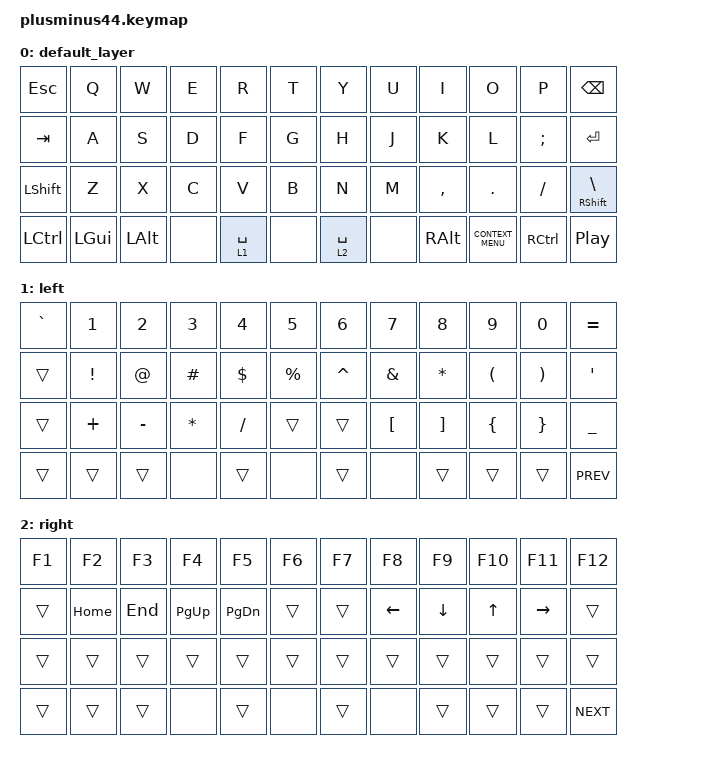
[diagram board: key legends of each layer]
#include <behaviors.dtsi>
#include <dt-bindings/zmk/bt.h>
#include <dt-bindings/zmk/ext_power.h>
#include <dt-bindings/zmk/keys.h>

/ {
    keymap {
        compatible = "zmk,keymap";

        default_layer {
            bindings = <
            &kp ESC    &kp Q     &kp W     &kp E  &kp R        &kp T  &kp Y        &kp U  &kp I      &kp O               &kp P      &kp BSPC
            &kp TAB    &kp A     &kp S     &kp D  &kp F        &kp G  &kp H        &kp J  &kp K      &kp L               &kp SEMI   &kp ENTER
            &kp LSHFT  &kp Z     &kp X     &kp C  &kp V        &kp B  &kp N        &kp M  &kp COMMA  &kp DOT             &kp FSLH   &mt RIGHT_SHIFT BACKSLASH
            &kp LCTRL  &kp LGUI  &kp LALT  &none  &lt 1 SPACE  &none  &lt 2 SPACE  &none  &kp RALT   &kp K_CONTEXT_MENU  &kp RCTRL  &kp C_PP
            >;
        };

        left {
            bindings = <
            &kp GRAVE  &kp NUMBER_1  &kp N2     &kp NUMBER_3  &kp NUMBER_4  &kp N5       &kp N6     &kp N7            &kp N8             &kp N9                &kp N0                 &kp EQUAL
            &trans     &kp EXCL      &kp AT     &kp HASH      &kp DOLLAR    &kp PERCENT  &kp CARET  &kp AMPERSAND     &kp ASTERISK       &kp LEFT_PARENTHESIS  &kp RIGHT_PARENTHESIS  &kp SINGLE_QUOTE
            &trans     &kp PLUS      &kp MINUS  &kp ASTERISK  &kp SLASH     &trans       &trans     &kp LEFT_BRACKET  &kp RIGHT_BRACKET  &kp LEFT_BRACE        &kp RIGHT_BRACE        &kp UNDERSCORE
            &trans     &trans        &trans     &none         &trans        &none        &trans     &none             &trans             &trans                &trans                 &kp C_PREV
            >;
        };

        right {
            bindings = <
            &kp F1  &kp F2    &kp F3   &kp F4     &kp F5     &kp F6  &kp F7  &kp F8    &kp F9    &kp F10       &kp F11    &kp F12
            &trans  &kp HOME  &kp END  &kp PG_UP  &kp PG_DN  &trans  &trans  &kp LEFT  &kp DOWN  &kp UP_ARROW  &kp RIGHT  &trans
            &trans  &trans    &trans   &trans     &trans     &trans  &trans  &trans    &trans    &trans        &trans     &trans
            &trans  &trans    &trans   &none      &trans     &none   &trans  &none     &trans    &trans        &trans     &kp C_NEXT
            >;
        };
    };
};
